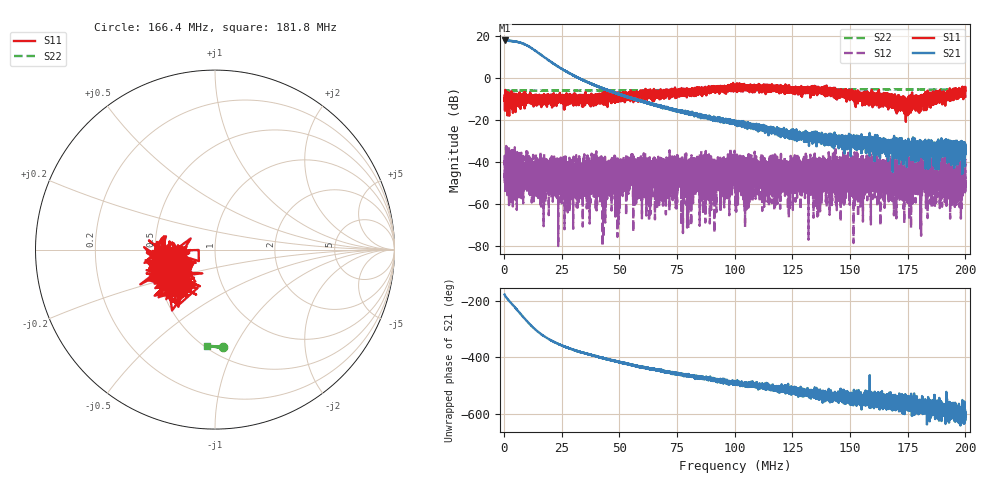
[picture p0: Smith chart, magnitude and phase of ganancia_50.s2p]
# Hz S DB R 50
! CMT, M5065, 19127446, 24.2.4/2
! Date: 10/29/2024 12:45:24 PM
! Data: Format (Calibration Info)
! Freq	S11:dB/Ang(F2)	S21:dB/Ang(F2)	S12:dB/Ang(F2)	S22:dB/Ang(F2)
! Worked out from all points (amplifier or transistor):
!   9000 points, 300 kHz to 200 MHz, reference 50 ohm
!   highest |S21| = 18.0 dB at 588.5 kHz (marker M1)
!   |S21| within 3 dB of that: start of sweep to 10.96 MHz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
!   unconditionally stable (mu >= 1): start of sweep to end of sweep
!   at 33.59 MHz: K = 118.42, MAG = 1.3 dB, |S12| = -50.6 dB
!   at 100.2 MHz: K = 321.10, MAG = -17.5 dB, |S12| = -42.5 dB
!   at 200 MHz: K = 4550.78, MAG = -32.9 dB, |S12| = -48.3 dB
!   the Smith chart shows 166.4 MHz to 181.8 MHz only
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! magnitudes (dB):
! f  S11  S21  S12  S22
! 300 kHz  -9.9  18.0  -41.0  -6.0
! 588.5 kHz  -5.6  18.0  -47.2  -6.0
! 9.731 MHz  -10.9  15.8  -47.7  -5.9
! 33.59 MHz  -9.5  -0.6  -50.6  -5.9
! 43.31 MHz  -8.8  -5.1  -46.3  -5.8
! 47.19 MHz  -8.8  -6.6  -41.8  -5.8
! 49.21 MHz  -6.7  -7.2  -49.6  -5.8
! 52.63 MHz  -8.8  -8.4  -38.7  -5.8
! 60.19 MHz  -7.6  -10.7  -42.3  -5.7
! 62.39 MHz  -7.3  -12.1  -55.7  -5.7
! 64.37 MHz  -7.4  -12.3  -42.6  -5.7
! 66.87 MHz  -8.4  -13.6  -37.5  -5.7
! 100.2 MHz  -3.6  -21.3  -42.5  -5.6
! 105.1 MHz  -4.8  -22.0  -56.6  -5.6
! 109 MHz  -3.6  -24.5  -46.6  -5.6
! 133.4 MHz  -5.2  -25.7  -50.3  -5.3
! 148.8 MHz  -6.8  -27.6  -46.5  -5.3
! 150.6 MHz  -8.3  -30.4  -43.5  -5.2
! 166.7 MHz  -9.6  -31.1  -58.8  -5.3
! 173.9 MHz  -10.9  -34.1  -42.1  -5.3
! 196.1 MHz  -7.5  -30.8  -52.5  -5.5
! 200 MHz  -8.7  -35.0  -48.3  -5.5
